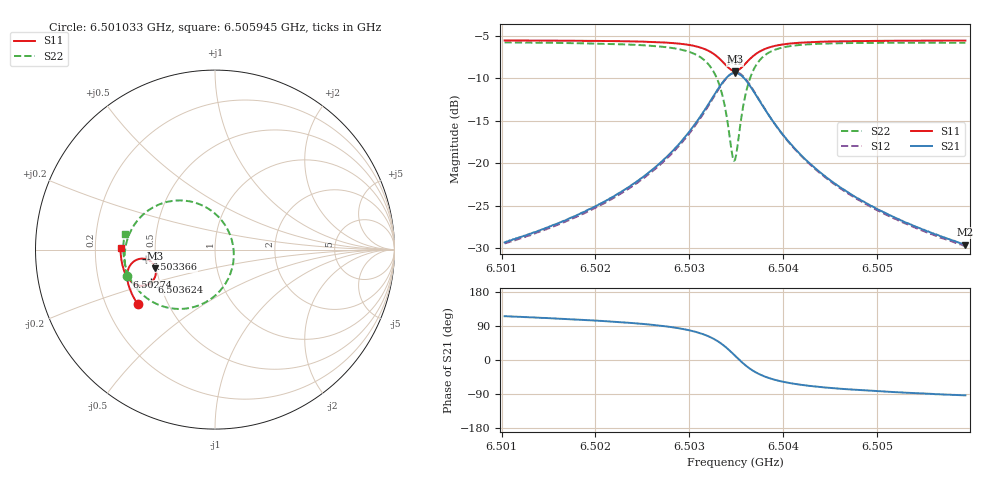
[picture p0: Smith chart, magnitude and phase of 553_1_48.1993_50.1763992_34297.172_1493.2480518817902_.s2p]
#  HZ  S  RI  R  50.00
! Rohde & Schwarz Vector Network Analyzer
! Rohde-Schwarz,ZNB20-2Port,1311601062101988,3.16
! Created: UTC 3/20/2024, 12:00:51 PM
! freq[Hz]  re:S11  im:S11  re:S21  im:S21  re:S12  im:S12  re:S22  im:S22
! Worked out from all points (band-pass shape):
!   401 points, 6.501033 GHz to 6.505945 GHz, reference 50 ohm
!   highest |S21| = -9.39 dB at 6.503489 GHz (marker M1); lowest = -29.6 dB at 6.505945 GHz (marker M2)
!   |S21| within 3 dB of the highest: 6.503244 GHz to 6.503735 GHz (491.1 kHz wide, 0.00755 % of centre)
!   lowest |S11| = -9.2 dB at 6.503489 GHz (marker M3), VSWR 2.07, Z = 24.6 - j5.8 ohm
!   |S11| at or under -10 dB: nowhere
!   |S22| runs from -19.7 to -5.8 dB; largest |S21 - S12| = 0.012
!   S11 on the Smith chart (normalised r, x): 6.501033 GHz: 0.34, -0.29; 6.50274 GHz: 0.33, -0.14; 6.503366 GHz: 0.44, -0.05; 6.503624 GHz: 0.45, -0.19; 6.505945 GHz: 0.31, +0.01
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6.5010325e9  -0.4299 -0.3049  -0.0147 0.0309  -0.0131 0.0311  -0.4915 -0.1483
6.5018554e9  -0.4648 -0.2433  -0.0141 0.0491  -0.0117 0.0486  -0.5036 -0.0596
6.5022975e9  -0.4801 -0.2037  -0.0111 0.0682  -0.00816 0.0671  -0.5 0.00426
6.5026782e9  -0.4887 -0.1608  -0.00152 0.0989  0.00199 0.0966  -0.4793 0.0819
6.5027396e9  -0.4892 -0.1527  0.00164 0.1062  0.00517 0.1036  -0.4722 0.0981
6.5029607e9  -0.4858 -0.1175  0.0235 0.1416  0.0273 0.1374  -0.4262 0.1688
6.5031203e9  -0.4712 -0.0853  0.0629 0.1776  0.0657 0.172  -0.3499 0.2324
6.5032677e9  -0.4334 -0.0555  0.1446 0.2066  0.1453 0.2005  -0.2012 0.2738
6.503366e9  -0.3868 -0.0525  0.236 0.1903  0.2363 0.1858  -0.0428 0.2316
6.5034519e9  -0.3436 -0.0815  0.3148 0.1158  0.3174 0.1119  0.083 0.085
6.5034765e9  -0.3356 -0.0957  0.3285 0.084  0.3318 0.0794  0.1002 0.025
6.5034888e9  -0.3328 -0.1036  0.3327 0.067  0.3364 0.0619  0.1041 -0.00655
6.5035133e9  -0.3296 -0.1199  0.3363 0.0323  0.3404 0.0259  0.102 -0.0702
6.5035502e9  -0.3317 -0.1442  0.3292 -0.0181  0.3328 -0.0267  0.075 -0.1594
6.5036239e9  -0.3541 -0.1814  0.2824 -0.0947  0.2826 -0.1061  -0.0352 -0.2831
6.5037344e9  -0.3998 -0.2017  0.1953 -0.1405  0.1901 -0.1502  -0.2119 -0.3303
6.5038941e9  -0.4472 -0.1923  0.1109 -0.1366  0.104 -0.1419  -0.3634 -0.2817
6.504066e9  -0.4751 -0.1707  0.0654 -0.1156  0.059 -0.118  -0.4371 -0.2151
6.5043116e9  -0.4962 -0.1411  0.0346 -0.0903  0.0298 -0.0909  -0.4816 -0.1415
6.5046678e9  -0.5115 -0.103  0.0156 -0.0671  0.0123 -0.0667  -0.5039 -0.068
6.5051345e9  -0.5213 -0.0594  0.00528 -0.0493  0.00291 -0.0487  -0.5106 -0.000176
6.505945e9  -0.5263 0.00971  -0.00193 -0.0332  -0.00335 -0.0323  -0.5032 0.087
